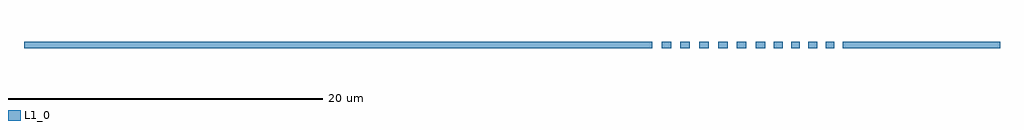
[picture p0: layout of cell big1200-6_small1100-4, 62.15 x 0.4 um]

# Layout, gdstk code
import gdstk
lib = gdstk.Library(unit=1e-6, precision=1e-09)
def R(c, l, rs):  # rectangles x0, y0, x1, y1
    for r in rs: c.add(gdstk.rectangle(r[:2], r[2:], *l))
def A(c, l, x, y, w, h, nx, ny, dx, dy):  # array of equal rectangles
    R(c, l, [(x+i*dx, y+j*dy, x+i*dx+w, y+j*dy+h) for i in range(nx) for j in range(ny)])
L1_0 = (1, 0)

big1200_6_small1100_4 = lib.new_cell('big1200-6_small1100-4')
A(big1200_6_small1100_4, L1_0, 0.6, 0, 0.6, 0.4, 6, 1, 1.2, 0)
A(big1200_6_small1100_4, L1_0, 7.75, 0, 0.55, 0.4, 4, 1, 1.1, 0)
R(big1200_6_small1100_4, L1_0, [(-40,0,0,0.4), (12.15,0,22.15,0.4)])

lib.write_gds('big1200-6_small1100-4.gds')
